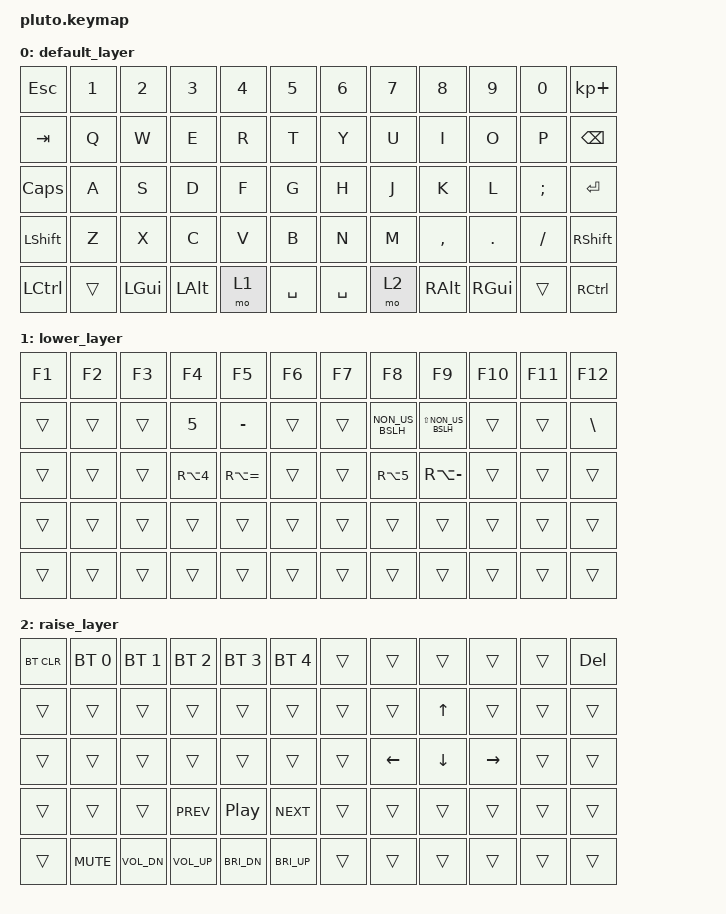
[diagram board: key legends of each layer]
/*
 * Pluto Keyboard - Default Keymap
 *
 * 60 keys total: 6 cols x 5 rows x 2 halves
 * Key positions match the matrix transform order:
 *   Left half first (col0-5), then right half (col6-11), row by row top to bottom.
 *
 * Layer 0: Default (QWERTY)
 * Layer 1: Lower  (numbers, symbols)
 * Layer 2: Raise  (F-keys, navigation, media)
 *
 * AZERTY note: ZMK sends raw HID scancodes. The OS (French AZERTY layout) translates them.
 * All keycodes below are written as their QWERTY HID position — the OS does the rest.
 *
 * Bracket/brace AZERTY reference (French legacy AZERTY, kbdlayout.info/KBDFR):
 *   (  →  base N5          (the '5' key, unshifted on AZERTY gives '(')
 *   )  →  base LBKT        (the key right of '0', unshifted on AZERTY gives ')')
 *   {  →  AltGr + N4       (AltGr+4 on AZERTY gives '{')
 *   }  →  AltGr + EQUAL    (AltGr+= on AZERTY gives '}')
 *   [  →  AltGr + N5       (AltGr+5 on AZERTY gives '[')
 *   ]  →  AltGr + LBKT     (AltGr+key-right-of-0 on AZERTY gives ']')
 */

#include <behaviors.dtsi>
#include <dt-bindings/zmk/keys.h>
#include <dt-bindings/zmk/bt.h>

/ {
    keymap {
        compatible = "zmk,keymap";

        /*
         * Layer 0: Default (QWERTY) -> (AZERTY for French layout)
         *
         * ,------------------------------------.        ,------------------------------------.
         * |  ESC |  1  |  2  |  3  |  4  |  5  |        |  6  |  7  |  8  |  9  |  0  |  +=  |
         * |------+-----+-----+-----+-----+-----|        |-----+-----+-----+-----+-----+------|
         * |  TAB |  Q  |  W  |  E  |  R  |  T  |        |  Y  |  U  |  I  |  O  |  P  | BKSP |
         * |------+-----+-----+-----+-----+-----|        |-----+-----+-----+-----+-----+------|
         * | CAPS |  A  |  S  |  D  |  F  |  G  |        |  H  |  J  |  K  |  L  |  ;  |  ENT |
         * |------+-----+-----+-----+-----+-----|        |-----+-----+-----+-----+-----+------|
         * | SHFT |  Z  |  X  |  C  |  V  |  B  |        |  N  |  M  |  ,  |  .  |  /  | SHFT |
         * |------+-----+-----+-----+-----+-----|        |-----+-----+-----+-----+-----+------|
         * | CTRL |     | GUI | ALT |LOWER| SPC |        | SPC |RAISE| ALT | GUI |     | CTRL |
         * `------------------------------------'        `------------------------------------'
         */

        default_layer {
            bindings = <
            /* row0: num row — left                                            right */
            &kp ESC    &kp N1    &kp N2    &kp N3    &kp N4    &kp N5    /**/  &kp N6      &kp N7    &kp N8    &kp N9    &kp N0    &kp KP_PLUS
            /* row1: top row */
            &kp TAB    &kp Q     &kp W     &kp E     &kp R     &kp T     /**/  &kp Y       &kp U     &kp I     &kp O     &kp P     &kp BSPC
            /* row2: home row */
            &kp CAPS   &kp A     &kp S     &kp D     &kp F     &kp G     /**/  &kp H       &kp J     &kp K     &kp L     &kp SEMI  &kp RET
            /* row3: bottom row */
            &kp LSHFT  &kp Z     &kp X     &kp C     &kp V     &kp B     /**/  &kp N       &kp M     &kp COMMA &kp DOT   &kp FSLH  &kp RSHFT
            /* row4: mod row */
            &kp LCTRL  &trans    &kp LGUI  &kp LALT  &mo 1     &kp SPACE /**/  &kp SPACE   &mo 2     &kp RALT  &kp RGUI  &trans    &kp RCTRL
            >;
        };

        /*
         * Layer 1: Lower (symbols — AZERTY-correct)
         *
         * All bracket/brace/paren positions are translated for the French AZERTY OS layout.
         * AltGr combos use RA() (Right Alt / AltGr).
         *
         * ,-----------------------------------.        ,-----------------------------------.
         * |  F1 |  F2 |  F3 |  F4 |  F5 |  F6 |        |  F7 |  F8 |  F9 | F10 | F11 | F12 |
         * |-----+-----+-----+-----+-----+-----|        |-----+-----+-----+-----+-----+-----|
         * |     |     |     |  (  |  )  |     |        |     |  <  |  >  |     |     |  *  |
         * |-----+-----+-----+-----+-----+-----|        |-----+-----+-----+-----+-----+-----|
         * |     |     |     |  {  |  }  |     |        |     |  [  |  ]  |     |     |     |
         * |-----+-----+-----+-----+-----+-----|        |-----+-----+-----+-----+-----+-----|
         * |     |     |     |     |     |     |        |     |     |     |     |     |     |
         * |-----+-----+-----+-----+-----+-----|        |-----+-----+-----+-----+-----+-----|
         * |     |     |     |     |     |     |        |     |     |     |     |     |     |
         * `-----------------------------------'        `-----------------------------------'
         *
         * AZERTY symbol mapping used here:
         *   (  = N5          (unshifted 5 on AZERTY)
         *   )  = LBKT        (unshifted key-right-of-0 on AZERTY)
         *   {  = RA(N4)      (AltGr+4 on AZERTY)
         *   }  = RA(EQUAL)   (AltGr+= on AZERTY)
         *   [  = RA(N5)      (AltGr+5 on AZERTY)
         *   ]  = RA(LBKT)    (AltGr+key-right-of-0 on AZERTY)
         *   <  = OEM_102     (the ISO extra key, unshifted)
         *   >  = LS(OEM_102) (same key, shifted)
         */

        lower_layer {
            bindings = </* left                                         right */
            /* row0 */
            &kp F1 &kp F2 &kp F3 &kp F4     &kp F5        &kp F6  /**/  &kp F7 &kp F8          &kp F9              &kp F10 &kp F11 &kp F12
            /* row1 */
            &trans &trans &trans &kp N5     &kp MINUS     &trans  /**/  &trans &kp NON_US_BSLH &kp LS(NON_US_BSLH) &trans  &trans  &kp BSLH
            /* row2 */
            &trans &trans &trans &kp RA(N4) &kp RA(EQUAL) &trans  /**/  &trans &kp RA(N5)      &kp RA(MINUS)       &trans  &trans  &trans
            /* row3 */
            &trans &trans &trans &trans     &trans        &trans  /**/  &trans &trans          &trans              &trans  &trans  &trans
            /* row4 */
            &trans &trans &trans &trans     &trans        &trans  /**/  &trans &trans          &trans              &trans  &trans  &trans
            >;
        };

        /*
         * Layer 2: Raise (navigation, Bluetooth, media, brightness)
         *
         * Media and brightness are on the LEFT half so they are reachable
         * while the right thumb holds the Raise key.
         *
         * ,-------------------------------------.        ,------------------------------------.
         * |BTCLR|BT 0 |BT 1 |BT 2 |BT 3 |  BT 4 |        |     |     |     |     |     |      |
         * |-----+-----+-----+-----+-----+-------|        |-----+-----+-----+-----+-----+------|
         * |     |     |     |     |     |       |        |     |     |  UP |     |     | DEL  |
         * |-----+-----+-----+-----+-----+-------|        |-----+-----+-----+-----+-----+------|
         * |     |     |     |     |     |       |        |     | LEFT| DOWN|RIGHT|     |      |
         * |-----+-----+-----+-----+-----+-------|        |-----+-----+-----+-----+-----+------|
         * |     |PREV | PP  |NEXT |     |       |        |     |     |     |     |     |      |
         * |-----+-----+-----+-----+-----+-------|        |-----+-----+-----+-----+-----+------|
         * |     |MUTE |VOL- |VOL+ |BRI- |BRI+   |        |     |     |     |     |     |      |
         * `-------------------------------------'        `------------------------------------'
         */

        raise_layer {
            bindings = <
            /* row0 */
            &bt BT_CLR &bt BT_SEL 0 &bt BT_SEL 1 &bt BT_SEL 2 &bt BT_SEL 3 &bt BT_SEL 4     &trans    &trans     &trans     &trans    &trans    &kp DEL
            /* row1 */
            &trans     &trans       &trans       &trans       &trans       &trans           &trans    &trans     &kp UP     &trans    &trans    &trans
            /* row2 */
            &trans     &trans       &trans       &trans       &trans       &trans           &trans    &kp LEFT   &kp DOWN   &kp RIGHT &trans    &trans
            /* row3 */
            &trans     &trans       &trans       &kp C_PREV   &kp C_PP     &kp C_NEXT       &trans    &trans     &trans     &trans    &trans    &trans
            /* row4 */
            &trans     &kp C_MUTE   &kp C_VOL_DN &kp C_VOL_UP &kp C_BRI_DN &kp C_BRI_UP     &trans    &trans     &trans     &trans    &trans    &trans
            >;
        };
    };
};
